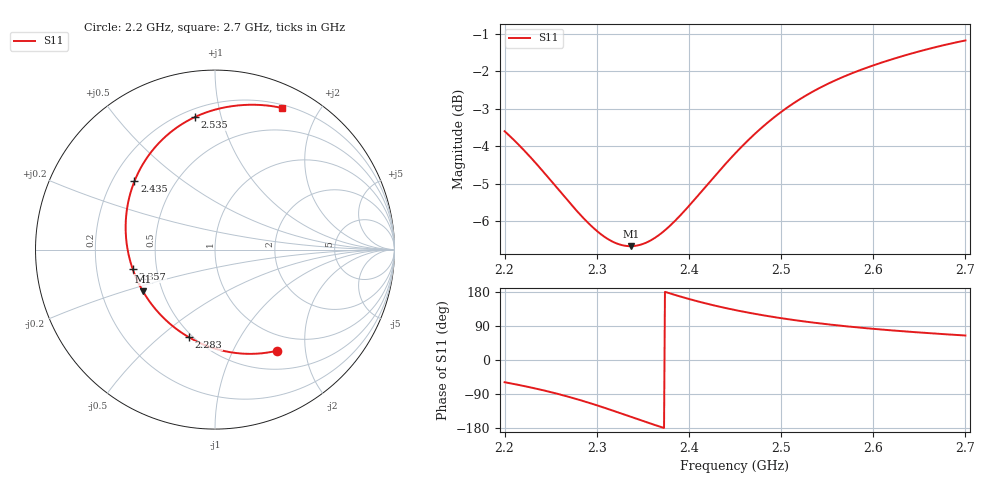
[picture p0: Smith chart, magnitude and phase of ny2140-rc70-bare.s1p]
! PRELIMINARY bare PCB unless shell_eps > 0; see README.md
! L220 output ($1N324); all Gerber copper, components omitted (C216/L220/C217 not populated)
# Hz S RI R 50
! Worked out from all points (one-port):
!   501 points, 2.2 GHz to 2.7 GHz, reference 50 ohm
!   lowest |S11| = -6.7 dB at 2.337 GHz (marker M1), VSWR 2.73, Z = 19.4 - j11.5 ohm
!   |S11| at or under -10 dB: nowhere
!   S11 on the Smith chart (normalised r, x): 2.2 GHz: 0.75, -1.51; 2.283 GHz: 0.48, -0.63; 2.357 GHz: 0.36, -0.10; 2.435 GHz: 0.29, +0.34; 2.535 GHz: 0.25, +0.83; 2.7 GHz: 0.23, +1.56
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2.2e9  0.3437 -0.5639
2.217e9  0.25 -0.5786
2.233e9  0.156 -0.5797
2.248e9  0.0648 -0.5679
2.263e9  -0.0269 -0.5429
2.283e9  -0.1455 -0.4883
2.303e9  -0.2545 -0.4103
2.325e9  -0.3562 -0.3008
2.337e9  -0.4014 -0.2324
2.357e9  -0.4583 -0.109
2.372e9  -0.4847 -0.0118
2.388e9  -0.4972 0.0931
2.399e9  -0.4967 0.1643
2.411e9  -0.4882 0.2399
2.423e9  -0.472 0.3123
2.435e9  -0.4488 0.3806
2.45e9  -0.4115 0.4591
2.466e9  -0.3635 0.5333
2.481e9  -0.3129 0.5935
2.497e9  -0.2551 0.6477
2.513e9  -0.1953 0.692
2.535e9  -0.1129 0.7381
2.554e9  -0.0438 0.7661
2.575e9  0.0288 0.7869
2.605e9  0.1245 0.8028
2.638e9  0.2195 0.8069
2.672e9  0.3079 0.8006
2.7e9  0.3745 0.7885
